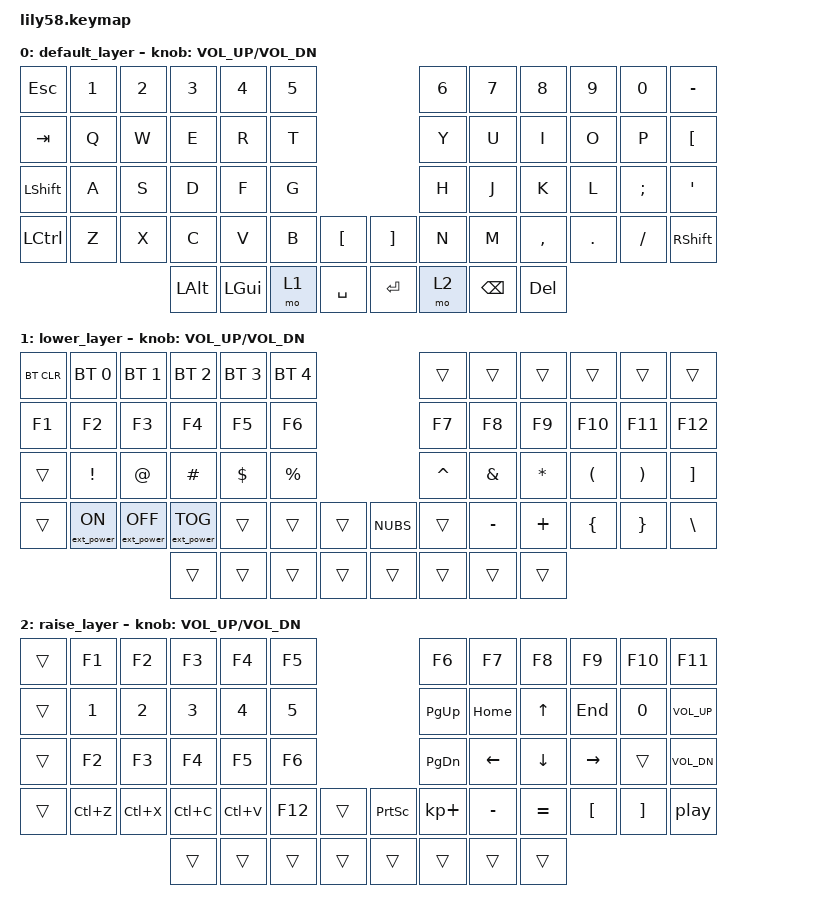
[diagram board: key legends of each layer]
/*
 * Copyright (c) 2020 The ZMK Contributors
 *
 * SPDX-License-Identifier: MIT
 */

#include <behaviors.dtsi>
#include <dt-bindings/zmk/keys.h>
#include <dt-bindings/zmk/bt.h>
#include <dt-bindings/zmk/ext_power.h>


#define TAPPING_TERM 250
#define QUICK_TAP_TERM 100



/ {
    behaviors {
        
        mo_lock: mo_layer_locked {
            compatible = "zmk,behavior-momentary-layer";
            #binding-cells = <1>;
            display-name = "lock Layer On";
            locking;
        };
        
        tog_lock: toggle_layer_on_only {
            compatible = "zmk,behavior-toggle-layer";
            #binding-cells = <1>;
            display-name = "Toggle Layer On";
            locking;
        };
        
        lay_ht: layer-tap-with-hold-preferred {
            compatible = "zmk,behavior-hold-tap";
            #binding-cells = <2>;
            tapping-term-ms = <TAPPING_TERM>;
            flavor = "hold-preferred";
            quick-tap-ms = <QUICK_TAP_TERM>;
            bindings = <&mo>, <&tog_lock>;
        };
        
        play: tap_dance_0 {
            compatible = "zmk,behavior-tap-dance";
            #binding-cells = <0>;
            tapping-term-ms = <200>;
            bindings = <&kp C_PP>, <&kp C_NEXT>, <&kp C_PREV>;
        };
        
    };
    combos {
        compatible = "zmk,combos";
        combo_esc {
            timeout-ms = <100>;
            key-positions = <49 55>;
            bindings = <&tog_lock 2>;
        };
    };

    keymap {
        compatible = "zmk,keymap";

        default_layer {
// ------------------------------------------------------------------------------------------------------------
// |  ESC  |  1  |  2  |  3   |  4   |  5   |                   |  6   |  7    |  8    |  9   |   0   |   +   |
// |  TAB  |  Q  |  W  |  E   |  R   |  T   |                   |  Y   |  U    |  I    |  O   |   P   |   å   |
// | SHIFT |  A  |  S  |  D   |  F   |  G   |                   |  H   |  J    |  K    |  L   |   ;   |   '   |
// | CTRL  |  Z  |  X  |  C   |  V   |  B   |   "å"  |  |  "]"  |  N   |  M    |  ,    |  .   |   /   | SHIFT |
//                     | ALT  | GUI  | LOWER|  SPACE |  | ENTER | RAISE| BSPC  | DEL   |
            bindings = <
&kp ESC   &kp N1 &kp N2 &kp N3   &kp N4   &kp N5                     &kp N6 &kp N7   &kp N8    &kp N9  &kp N0   &kp MINUS
&kp TAB   &kp Q  &kp W  &kp E    &kp R    &kp T                      &kp Y  &kp U    &kp I     &kp O   &kp P    &kp LBKT
&kp LSHFT &kp A  &kp S  &kp D    &kp F    &kp G                      &kp H  &kp J    &kp K     &kp L   &kp SEMI &kp SQT
&kp LCTRL &kp Z  &kp X  &kp C    &kp V    &kp B  &kp LBKT   &kp RBKT &kp N  &kp M    &kp COMMA &kp DOT &kp FSLH &kp RSHFT
                        &kp LALT &kp LGUI &mo 1  &kp SPACE  &kp RET  &mo 2  &kp BSPC &kp DEL
            >;

            sensor-bindings = <&inc_dec_kp C_VOL_UP C_VOL_DN>;
        };
        
        lower_layer {
// ------------------------------------------------------------------------------------------------------------
// | BTCLR | BT1 | BT2 |  BT3 |  BT4 |  BT5 |                   |      |       |       |      |       |       |
// |  F1   |  F2 |  F3 |  F4  |  F5  |  F6  |                   |  F7  |  F8   |  F9   |  F10 |  F11  |  F12  |
// | SHIFT |  !  |  @  |  #   |  $   |  %   |                   |  ^   |  &    |  *    |  (   |   )   |   ~   |
// | CTRL  |     |     |      |      |      |        |  |       |      |  _    |  +    |  {   |   }   | " ' " |
//                     |      |      |      |        |  |       |      |       |       |
            bindings = <
&bt BT_CLR &bt BT_SEL 0  &bt BT_SEL 1 &bt BT_SEL 2 &bt BT_SEL 3 &bt BT_SEL 4                 &trans    &trans    &trans    &trans    &trans    &trans
&kp F1     &kp F2        &kp F3       &kp F4       &kp F5       &kp F6                       &kp F7    &kp F8    &kp F9    &kp F10   &kp F11   &kp F12
&trans  &kp EXCL         &kp AT       &kp HASH     &kp DOLLAR   &kp PRCNT                    &kp CARET &kp AMPS  &kp ASTRK &kp LPAR  &kp RPAR  &kp RBKT
&trans  &ext_power EP_ON &ext_power EP_OFF &ext_power EP_TOG &trans       &trans    &trans   &kp NUBS     &trans    &kp MINUS &kp PLUS  &kp LBRC  &kp RBRC  &kp BSLH
                        &trans &trans &trans  &trans      &trans  &trans  &trans  &trans
            >;

            sensor-bindings = <&inc_dec_kp C_VOL_UP C_VOL_DN>;
        };

        raise_layer {
// ------------------------------------------------------------------------------------------------------------
// | esc   |  F1  |  F2  |  F3  |  F4  |  F5  |                   |  F6  |  F7   |  F8   |  F9 |  F10  |  F11  |
// | tab   |  1   |  2   |  3   |  4   |  5   |                   | PG_UP| HOME  |   ^   |  END |   0   | C_VOL_UP |
// | SHIFT |  F2  |  F3  |  F4  |  F5  |  F6  |                   | PG_DN|   <-  |   v   |  ->  |       | C_VOL_DN |
// | CTRL  |CTRL+Z|CTRL+X|CTRL+C|CTRL+V|  F12 |      |  |   PSCRN |  +   |   -   |   =   |  [   |   ]   |   play   |
//                       |      |      |      |      |  |         |      |       |       |
            bindings = <
&trans &kp F1 &kp F2 &kp F3  &kp F4  &kp F5                       &kp F6      &kp F7     &kp F8     &kp F9   &kp F10   &kp F11
&trans &kp N1 &kp N2 &kp N3  &kp N4  &kp N5                       &kp PG_UP   &kp HOME    &kp UP    &kp END   &kp N0    &kp C_VOL_UP
&trans &kp F2 &kp F3 &kp F4  &kp F5  &kp F6                          &kp PG_DN   &kp LEFT    &kp DOWN  &kp RIGHT &trans    &kp C_VOL_DN  
&trans &kp LC(Z) &kp LC(X) &kp LC(C) &kp LC(V) &kp F12 &trans    &kp PSCRN  &kp KP_PLUS &kp MINUS   &kp EQUAL &kp LBKT &kp RBKT  &play                                                
                        &trans  &trans  &trans    &trans           &trans    &trans      &trans    &trans
            >;

            sensor-bindings = <&inc_dec_kp C_VOL_UP C_VOL_DN>;
        };
    };
};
